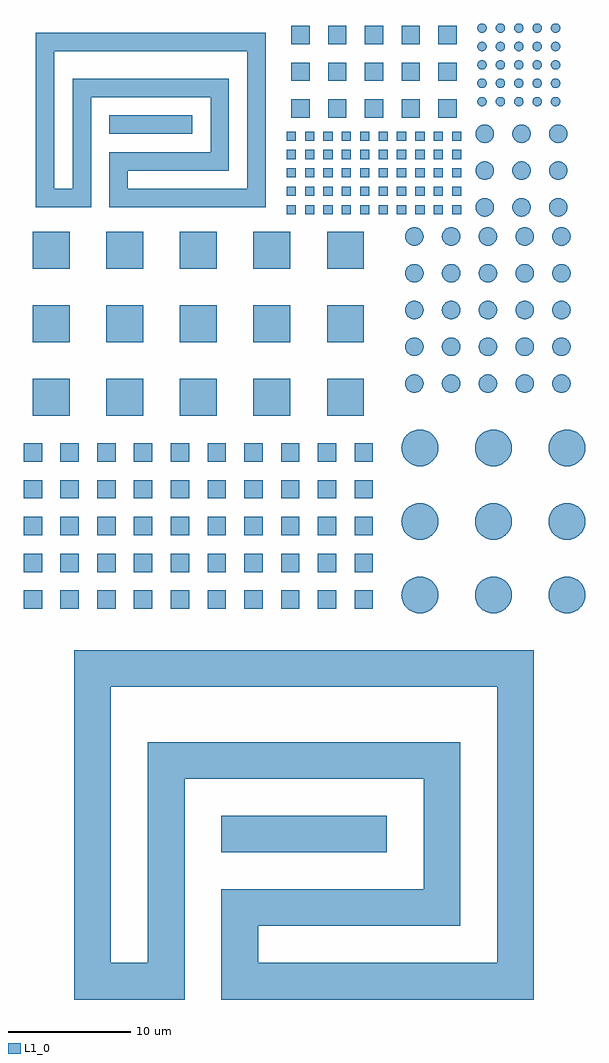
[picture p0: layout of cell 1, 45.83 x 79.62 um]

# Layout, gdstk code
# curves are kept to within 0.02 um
import gdstk
lib = gdstk.Library(unit=1e-6, precision=1e-09)
def R(c, l, rs):  # rectangles x0, y0, x1, y1
    for r in rs: c.add(gdstk.rectangle(r[:2], r[2:], *l))
def A(c, l, x, y, w, h, nx, ny, dx, dy):  # array of equal rectangles
    R(c, l, [(x+i*dx, y+j*dy, x+i*dx+w, y+j*dy+h) for i in range(nx) for j in range(ny)])
def P(c, l, *ps):  # polygons
    for p in ps: c.add(gdstk.Polygon(p, *l))
L1_0 = (1, 0)

c_1 = lib.new_cell('1')
A(c_1, L1_0, 360.751, -839.157, 1.5, 1.5, 10, 5, 3, 3)
A(c_1, L1_0, 361.501, -823.407, 3, 3, 5, 3, 6, 6)
A(c_1, L1_0, 382.207, -806.969, 0.75, 0.75, 10, 5, 1.5, 1.5)
A(c_1, L1_0, 382.582, -799.094, 1.5, 1.5, 5, 3, 3, 3)
P(c_1, L1_0, [(402.645,-798.157),(402.517,-798.134),(402.379,-798.047),(402.292,-797.909),(402.27,-797.782),(402.292,-797.653),(402.379,-797.516),(402.487,-797.441),(402.645,-797.407),(402.804,-797.441),(402.91,-797.516),(402.985,-797.623),(403.02,-797.782),(402.985,-797.939),(402.91,-798.047),(402.774,-798.134)],
  [(401.37,-801.157),(401.113,-801.112),(400.84,-800.936),(400.665,-800.663),(400.62,-800.407),(400.69,-800.089),(400.84,-799.876),(401.113,-799.702),(401.37,-799.657),(401.688,-799.727),(401.901,-799.876),(402.075,-800.15),(402.12,-800.407),(402.075,-800.663),(401.901,-800.936),(401.626,-801.112)],
  [(401.145,-796.657),(401.017,-796.634),(400.879,-796.547),(400.792,-796.409),(400.77,-796.282),(400.792,-796.153),(400.879,-796.016),(400.987,-795.941),(401.145,-795.907),(401.304,-795.941),(401.41,-796.016),(401.485,-796.123),(401.52,-796.282),(401.485,-796.439),(401.41,-796.547),(401.274,-796.634)],
  [(402.645,-793.657),(402.517,-793.634),(402.379,-793.547),(402.292,-793.409),(402.27,-793.282),(402.292,-793.153),(402.379,-793.016),(402.487,-792.941),(402.645,-792.907),(402.804,-792.941),(402.91,-793.016),(402.985,-793.123),(403.02,-793.282),(402.985,-793.439),(402.91,-793.547),(402.774,-793.634)],
  [(401.145,-793.657),(401.017,-793.634),(400.879,-793.547),(400.792,-793.409),(400.77,-793.282),(400.792,-793.153),(400.879,-793.016),(400.987,-792.941),(401.145,-792.907),(401.304,-792.941),(401.41,-793.016),(401.485,-793.123),(401.52,-793.282),(401.485,-793.439),(401.41,-793.547),(401.274,-793.634)],
  [(401.145,-792.157),(401.017,-792.134),(400.879,-792.047),(400.792,-791.909),(400.77,-791.782),(400.792,-791.653),(400.879,-791.516),(400.987,-791.441),(401.145,-791.407),(401.304,-791.441),(401.41,-791.516),(401.485,-791.623),(401.52,-791.782),(401.485,-791.939),(401.41,-792.047),(401.274,-792.134)],
  [(398.145,-796.657),(398.017,-796.634),(397.879,-796.547),(397.792,-796.409),(397.77,-796.282),(397.792,-796.153),(397.879,-796.016),(397.987,-795.941),(398.145,-795.907),(398.304,-795.941),(398.41,-796.016),(398.485,-796.123),(398.52,-796.282),(398.485,-796.439),(398.41,-796.547),(398.274,-796.634)],
  [(399.645,-795.157),(399.517,-795.134),(399.379,-795.047),(399.292,-794.909),(399.27,-794.782),(399.292,-794.653),(399.379,-794.516),(399.487,-794.441),(399.645,-794.407),(399.804,-794.441),(399.91,-794.516),(399.985,-794.623),(400.02,-794.782),(399.985,-794.939),(399.91,-795.047),(399.774,-795.134)],
  [(398.145,-793.657),(398.017,-793.634),(397.879,-793.547),(397.792,-793.409),(397.77,-793.282),(397.792,-793.153),(397.879,-793.016),(397.987,-792.941),(398.145,-792.907),(398.304,-792.941),(398.41,-793.016),(398.485,-793.123),(398.52,-793.282),(398.485,-793.439),(398.41,-793.547),(398.274,-793.634)],
  [(398.37,-804.157),(398.113,-804.112),(397.84,-803.936),(397.665,-803.663),(397.62,-803.407),(397.69,-803.089),(397.84,-802.876),(398.113,-802.702),(398.37,-802.657),(398.688,-802.727),(398.901,-802.876),(399.075,-803.15),(399.12,-803.407),(399.075,-803.663),(398.901,-803.936),(398.626,-804.112)],
  [(401.145,-798.157),(401.017,-798.134),(400.879,-798.047),(400.792,-797.909),(400.77,-797.782),(400.792,-797.653),(400.879,-797.516),(400.987,-797.441),(401.145,-797.407),(401.304,-797.441),(401.41,-797.516),(401.485,-797.623),(401.52,-797.782),(401.485,-797.939),(401.41,-798.047),(401.274,-798.134)],
  [(404.145,-793.657),(404.017,-793.634),(403.879,-793.547),(403.792,-793.409),(403.77,-793.282),(403.792,-793.153),(403.879,-793.016),(403.987,-792.941),(404.145,-792.907),(404.304,-792.941),(404.41,-793.016),(404.485,-793.123),(404.52,-793.282),(404.485,-793.439),(404.41,-793.547),(404.274,-793.634)],
  [(404.145,-792.157),(404.017,-792.134),(403.879,-792.047),(403.792,-791.909),(403.77,-791.782),(403.792,-791.653),(403.879,-791.516),(403.987,-791.441),(404.145,-791.407),(404.304,-791.441),(404.41,-791.516),(404.485,-791.623),(404.52,-791.782),(404.485,-791.939),(404.41,-792.047),(404.274,-792.134)],
  [(404.145,-798.157),(404.017,-798.134),(403.879,-798.047),(403.792,-797.909),(403.77,-797.782),(403.792,-797.653),(403.879,-797.516),(403.987,-797.441),(404.145,-797.407),(404.304,-797.441),(404.41,-797.516),(404.485,-797.623),(404.52,-797.782),(404.485,-797.939),(404.41,-798.047),(404.274,-798.134)],
  [(398.37,-801.157),(398.113,-801.112),(397.84,-800.936),(397.665,-800.663),(397.62,-800.407),(397.69,-800.089),(397.84,-799.876),(398.113,-799.702),(398.37,-799.657),(398.688,-799.727),(398.901,-799.876),(399.075,-800.15),(399.12,-800.407),(399.075,-800.663),(398.901,-800.936),(398.626,-801.112)],
  [(404.37,-804.157),(404.113,-804.112),(403.84,-803.936),(403.665,-803.663),(403.62,-803.407),(403.69,-803.089),(403.84,-802.876),(404.113,-802.702),(404.37,-802.657),(404.688,-802.727),(404.901,-802.876),(405.075,-803.15),(405.12,-803.407),(405.075,-803.663),(404.901,-803.936),(404.626,-804.112)],
  [(399.645,-798.157),(399.517,-798.134),(399.379,-798.047),(399.292,-797.909),(399.27,-797.782),(399.292,-797.653),(399.379,-797.516),(399.487,-797.441),(399.645,-797.407),(399.804,-797.441),(399.91,-797.516),(399.985,-797.623),(400.02,-797.782),(399.985,-797.939),(399.91,-798.047),(399.774,-798.134)],
  [(398.145,-792.157),(398.017,-792.134),(397.879,-792.047),(397.792,-791.909),(397.77,-791.782),(397.792,-791.653),(397.879,-791.516),(397.987,-791.441),(398.145,-791.407),(398.304,-791.441),(398.41,-791.516),(398.485,-791.623),(398.52,-791.782),(398.485,-791.939),(398.41,-792.047),(398.274,-792.134)],
  [(399.645,-793.657),(399.517,-793.634),(399.379,-793.547),(399.292,-793.409),(399.27,-793.282),(399.292,-793.153),(399.379,-793.016),(399.487,-792.941),(399.645,-792.907),(399.804,-792.941),(399.91,-793.016),(399.985,-793.123),(400.02,-793.282),(399.985,-793.439),(399.91,-793.547),(399.774,-793.634)],
  [(398.145,-798.157),(398.017,-798.134),(397.879,-798.047),(397.792,-797.909),(397.77,-797.782),(397.792,-797.653),(397.879,-797.516),(397.987,-797.441),(398.145,-797.407),(398.304,-797.441),(398.41,-797.516),(398.485,-797.623),(398.52,-797.782),(398.485,-797.939),(398.41,-798.047),(398.274,-798.134)],
  [(399.645,-796.657),(399.517,-796.634),(399.379,-796.547),(399.292,-796.409),(399.27,-796.282),(399.292,-796.153),(399.379,-796.016),(399.487,-795.941),(399.645,-795.907),(399.804,-795.941),(399.91,-796.016),(399.985,-796.123),(400.02,-796.282),(399.985,-796.439),(399.91,-796.547),(399.774,-796.634)],
  [(404.145,-795.157),(404.017,-795.134),(403.879,-795.047),(403.792,-794.909),(403.77,-794.782),(403.792,-794.653),(403.879,-794.516),(403.987,-794.441),(404.145,-794.407),(404.304,-794.441),(404.41,-794.516),(404.485,-794.623),(404.52,-794.782),(404.485,-794.939),(404.41,-795.047),(404.274,-795.134)],
  [(401.145,-795.157),(401.017,-795.134),(400.879,-795.047),(400.792,-794.909),(400.77,-794.782),(400.792,-794.653),(400.879,-794.516),(400.987,-794.441),(401.145,-794.407),(401.304,-794.441),(401.41,-794.516),(401.485,-794.623),(401.52,-794.782),(401.485,-794.939),(401.41,-795.047),(401.274,-795.134)],
  [(399.645,-792.157),(399.517,-792.134),(399.379,-792.047),(399.292,-791.909),(399.27,-791.782),(399.292,-791.653),(399.379,-791.516),(399.487,-791.441),(399.645,-791.407),(399.804,-791.441),(399.91,-791.516),(399.985,-791.623),(400.02,-791.782),(399.985,-791.939),(399.91,-792.047),(399.774,-792.134)],
  [(402.645,-792.157),(402.517,-792.134),(402.379,-792.047),(402.292,-791.909),(402.27,-791.782),(402.292,-791.653),(402.379,-791.516),(402.487,-791.441),(402.645,-791.407),(402.804,-791.441),(402.91,-791.516),(402.985,-791.623),(403.02,-791.782),(402.985,-791.939),(402.91,-792.047),(402.774,-792.134)],
  [(404.145,-796.657),(404.017,-796.634),(403.879,-796.547),(403.792,-796.409),(403.77,-796.282),(403.792,-796.153),(403.879,-796.016),(403.987,-795.941),(404.145,-795.907),(404.304,-795.941),(404.41,-796.016),(404.485,-796.123),(404.52,-796.282),(404.485,-796.439),(404.41,-796.547),(404.274,-796.634)],
  [(402.645,-795.157),(402.517,-795.134),(402.379,-795.047),(402.292,-794.909),(402.27,-794.782),(402.292,-794.653),(402.379,-794.516),(402.487,-794.441),(402.645,-794.407),(402.804,-794.441),(402.91,-794.516),(402.985,-794.623),(403.02,-794.782),(402.985,-794.939),(402.91,-795.047),(402.774,-795.134)],
  [(401.37,-804.157),(401.113,-804.112),(400.84,-803.936),(400.665,-803.663),(400.62,-803.407),(400.69,-803.089),(400.84,-802.876),(401.113,-802.702),(401.37,-802.657),(401.688,-802.727),(401.901,-802.876),(402.075,-803.15),(402.12,-803.407),(402.075,-803.663),(401.901,-803.936),(401.626,-804.112)],
  [(398.145,-795.157),(398.017,-795.134),(397.879,-795.047),(397.792,-794.909),(397.77,-794.782),(397.792,-794.653),(397.879,-794.516),(397.987,-794.441),(398.145,-794.407),(398.304,-794.441),(398.41,-794.516),(398.485,-794.623),(398.52,-794.782),(398.485,-794.939),(398.41,-795.047),(398.274,-795.134)],
  [(402.645,-796.657),(402.517,-796.634),(402.379,-796.547),(402.292,-796.409),(402.27,-796.282),(402.292,-796.153),(402.379,-796.016),(402.487,-795.941),(402.645,-795.907),(402.804,-795.941),(402.91,-796.016),(402.985,-796.123),(403.02,-796.282),(402.985,-796.439),(402.91,-796.547),(402.774,-796.634)],
  [(404.37,-801.157),(404.113,-801.112),(403.84,-800.936),(403.665,-800.663),(403.62,-800.407),(403.69,-800.089),(403.84,-799.876),(404.113,-799.702),(404.37,-799.657),(404.688,-799.727),(404.901,-799.876),(405.075,-800.15),(405.12,-800.407),(405.075,-800.663),(404.901,-800.936),(404.626,-801.112)],
  [(404.37,-807.157),(404.113,-807.112),(403.84,-806.936),(403.665,-806.663),(403.62,-806.407),(403.69,-806.089),(403.84,-805.876),(404.113,-805.702),(404.37,-805.657),(404.688,-805.727),(404.901,-805.876),(405.075,-806.15),(405.12,-806.407),(405.075,-806.663),(404.901,-806.936),(404.626,-807.112)],
  [(401.37,-807.157),(401.113,-807.112),(400.84,-806.936),(400.665,-806.663),(400.62,-806.407),(400.69,-806.089),(400.84,-805.876),(401.113,-805.702),(401.37,-805.657),(401.688,-805.727),(401.901,-805.876),(402.075,-806.15),(402.12,-806.407),(402.075,-806.663),(401.901,-806.936),(401.626,-807.112)],
  [(398.37,-807.157),(398.113,-807.112),(397.84,-806.936),(397.665,-806.663),(397.62,-806.407),(397.69,-806.089),(397.84,-805.876),(398.113,-805.702),(398.37,-805.657),(398.688,-805.727),(398.901,-805.876),(399.075,-806.15),(399.12,-806.407),(399.075,-806.663),(398.901,-806.936),(398.626,-807.112)],
  [(401.626,-821.532),(401.371,-821.487),(401.095,-821.313),(400.921,-821.037),(400.876,-820.782),(400.921,-820.524),(401.095,-820.251),(401.311,-820.101),(401.626,-820.032),(401.944,-820.101),(402.157,-820.251),(402.307,-820.464),(402.376,-820.782),(402.307,-821.097),(402.157,-821.313),(401.884,-821.487)],
  [(399.076,-827.532),(398.815,-827.508),(398.563,-827.442),(398.326,-827.331),(398.017,-827.091),(397.777,-826.782),(397.666,-826.545),(397.6,-826.293),(397.576,-826.032),(397.627,-825.642),(397.717,-825.396),(397.849,-825.171),(398.017,-824.97),(398.215,-824.802),(398.563,-824.622),(398.815,-824.553),(399.076,-824.532),(399.337,-824.553),(399.589,-824.622),(399.937,-824.802),(400.138,-824.97),(400.306,-825.171),(400.486,-825.519),(400.555,-825.771),(400.576,-826.032),(400.555,-826.293),(400.486,-826.545),(400.306,-826.893),(400.138,-827.091),(399.937,-827.259),(399.712,-827.391),(399.466,-827.481)],
  [(398.626,-818.532),(398.371,-818.487),(398.095,-818.313),(397.921,-818.037),(397.876,-817.782),(397.921,-817.524),(398.095,-817.251),(398.311,-817.101),(398.626,-817.032),(398.944,-817.101),(399.157,-817.251),(399.307,-817.464),(399.376,-817.782),(399.307,-818.097),(399.157,-818.313),(398.884,-818.487)],
  [(401.626,-812.532),(401.371,-812.487),(401.095,-812.313),(400.921,-812.037),(400.876,-811.782),(400.921,-811.524),(401.095,-811.251),(401.311,-811.101),(401.626,-811.032),(401.944,-811.101),(402.157,-811.251),(402.307,-811.464),(402.376,-811.782),(402.307,-812.097),(402.157,-812.313),(401.884,-812.487)],
  [(398.626,-812.532),(398.371,-812.487),(398.095,-812.313),(397.921,-812.037),(397.876,-811.782),(397.921,-811.524),(398.095,-811.251),(398.311,-811.101),(398.626,-811.032),(398.944,-811.101),(399.157,-811.251),(399.307,-811.464),(399.376,-811.782),(399.307,-812.097),(399.157,-812.313),(398.884,-812.487)],
  [(398.626,-809.532),(398.371,-809.487),(398.095,-809.313),(397.921,-809.037),(397.876,-808.782),(397.921,-808.524),(398.095,-808.251),(398.311,-808.101),(398.626,-808.032),(398.944,-808.101),(399.157,-808.251),(399.307,-808.464),(399.376,-808.782),(399.307,-809.097),(399.157,-809.313),(398.884,-809.487)],
  [(392.626,-818.532),(392.371,-818.487),(392.095,-818.313),(391.921,-818.037),(391.876,-817.782),(391.921,-817.524),(392.095,-817.251),(392.311,-817.101),(392.626,-817.032),(392.944,-817.101),(393.157,-817.251),(393.307,-817.464),(393.376,-817.782),(393.307,-818.097),(393.157,-818.313),(392.884,-818.487)],
  [(395.626,-815.532),(395.371,-815.487),(395.095,-815.313),(394.921,-815.037),(394.876,-814.782),(394.921,-814.524),(395.095,-814.251),(395.311,-814.101),(395.626,-814.032),(395.944,-814.101),(396.157,-814.251),(396.307,-814.464),(396.376,-814.782),(396.307,-815.097),(396.157,-815.313),(395.884,-815.487)],
  [(392.626,-812.532),(392.371,-812.487),(392.095,-812.313),(391.921,-812.037),(391.876,-811.782),(391.921,-811.524),(392.095,-811.251),(392.311,-811.101),(392.626,-811.032),(392.944,-811.101),(393.157,-811.251),(393.307,-811.464),(393.376,-811.782),(393.307,-812.097),(393.157,-812.313),(392.884,-812.487)],
  [(393.076,-833.532),(392.815,-833.508),(392.563,-833.442),(392.326,-833.331),(392.017,-833.091),(391.777,-832.782),(391.666,-832.545),(391.6,-832.293),(391.576,-832.032),(391.627,-831.642),(391.717,-831.396),(391.849,-831.171),(392.017,-830.97),(392.215,-830.802),(392.563,-830.622),(392.815,-830.553),(393.076,-830.532),(393.337,-830.553),(393.589,-830.622),(393.937,-830.802),(394.138,-830.97),(394.306,-831.171),(394.486,-831.519),(394.555,-831.771),(394.576,-832.032),(394.555,-832.293),(394.486,-832.545),(394.306,-832.893),(394.138,-833.091),(393.937,-833.259),(393.712,-833.391),(393.466,-833.481)],
  [(398.626,-821.532),(398.371,-821.487),(398.095,-821.313),(397.921,-821.037),(397.876,-820.782),(397.921,-820.524),(398.095,-820.251),(398.311,-820.101),(398.626,-820.032),(398.944,-820.101),(399.157,-820.251),(399.307,-820.464),(399.376,-820.782),(399.307,-821.097),(399.157,-821.313),(398.884,-821.487)],
  [(404.626,-812.532),(404.371,-812.487),(404.095,-812.313),(403.921,-812.037),(403.876,-811.782),(403.921,-811.524),(404.095,-811.251),(404.311,-811.101),(404.626,-811.032),(404.944,-811.101),(405.157,-811.251),(405.307,-811.464),(405.376,-811.782),(405.307,-812.097),(405.157,-812.313),(404.884,-812.487)],
  [(404.626,-809.532),(404.371,-809.487),(404.095,-809.313),(403.921,-809.037),(403.876,-808.782),(403.921,-808.524),(404.095,-808.251),(404.311,-808.101),(404.626,-808.032),(404.944,-808.101),(405.157,-808.251),(405.307,-808.464),(405.376,-808.782),(405.307,-809.097),(405.157,-809.313),(404.884,-809.487)],
  [(404.626,-821.532),(404.371,-821.487),(404.095,-821.313),(403.921,-821.037),(403.876,-820.782),(403.921,-820.524),(404.095,-820.251),(404.311,-820.101),(404.626,-820.032),(404.944,-820.101),(405.157,-820.251),(405.307,-820.464),(405.376,-820.782),(405.307,-821.097),(405.157,-821.313),(404.884,-821.487)],
  [(393.076,-827.532),(392.815,-827.508),(392.563,-827.442),(392.326,-827.331),(392.017,-827.091),(391.777,-826.782),(391.666,-826.545),(391.6,-826.293),(391.576,-826.032),(391.627,-825.642),(391.717,-825.396),(391.849,-825.171),(392.017,-824.97),(392.215,-824.802),(392.563,-824.622),(392.815,-824.553),(393.076,-824.532),(393.337,-824.553),(393.589,-824.622),(393.937,-824.802),(394.138,-824.97),(394.306,-825.171),(394.486,-825.519),(394.555,-825.771),(394.576,-826.032),(394.555,-826.293),(394.486,-826.545),(394.306,-826.893),(394.138,-827.091),(393.937,-827.259),(393.712,-827.391),(393.466,-827.481)],
  [(405.076,-833.532),(404.815,-833.508),(404.563,-833.442),(404.326,-833.331),(404.017,-833.091),(403.777,-832.782),(403.666,-832.545),(403.6,-832.293),(403.576,-832.032),(403.627,-831.642),(403.717,-831.396),(403.849,-831.171),(404.017,-830.97),(404.215,-830.802),(404.563,-830.622),(404.815,-830.553),(405.076,-830.532),(405.337,-830.553),(405.589,-830.622),(405.937,-830.802),(406.138,-830.97),(406.306,-831.171),(406.486,-831.519),(406.555,-831.771),(406.576,-832.032),(406.555,-832.293),(406.486,-832.545),(406.306,-832.893),(406.138,-833.091),(405.937,-833.259),(405.712,-833.391),(405.466,-833.481)],
  [(395.626,-821.532),(395.371,-821.487),(395.095,-821.313),(394.921,-821.037),(394.876,-820.782),(394.921,-820.524),(395.095,-820.251),(395.311,-820.101),(395.626,-820.032),(395.944,-820.101),(396.157,-820.251),(396.307,-820.464),(396.376,-820.782),(396.307,-821.097),(396.157,-821.313),(395.884,-821.487)],
  [(392.626,-809.532),(392.371,-809.487),(392.095,-809.313),(391.921,-809.037),(391.876,-808.782),(391.921,-808.524),(392.095,-808.251),(392.311,-808.101),(392.626,-808.032),(392.944,-808.101),(393.157,-808.251),(393.307,-808.464),(393.376,-808.782),(393.307,-809.097),(393.157,-809.313),(392.884,-809.487)],
  [(395.626,-812.532),(395.371,-812.487),(395.095,-812.313),(394.921,-812.037),(394.876,-811.782),(394.921,-811.524),(395.095,-811.251),(395.311,-811.101),(395.626,-811.032),(395.944,-811.101),(396.157,-811.251),(396.307,-811.464),(396.376,-811.782),(396.307,-812.097),(396.157,-812.313),(395.884,-812.487)],
  [(392.626,-821.532),(392.371,-821.487),(392.095,-821.313),(391.921,-821.037),(391.876,-820.782),(391.921,-820.524),(392.095,-820.251),(392.311,-820.101),(392.626,-820.032),(392.944,-820.101),(393.157,-820.251),(393.307,-820.464),(393.376,-820.782),(393.307,-821.097),(393.157,-821.313),(392.884,-821.487)],
  [(395.626,-818.532),(395.371,-818.487),(395.095,-818.313),(394.921,-818.037),(394.876,-817.782),(394.921,-817.524),(395.095,-817.251),(395.311,-817.101),(395.626,-817.032),(395.944,-817.101),(396.157,-817.251),(396.307,-817.464),(396.376,-817.782),(396.307,-818.097),(396.157,-818.313),(395.884,-818.487)],
  [(404.626,-815.532),(404.371,-815.487),(404.095,-815.313),(403.921,-815.037),(403.876,-814.782),(403.921,-814.524),(404.095,-814.251),(404.311,-814.101),(404.626,-814.032),(404.944,-814.101),(405.157,-814.251),(405.307,-814.464),(405.376,-814.782),(405.307,-815.097),(405.157,-815.313),(404.884,-815.487)],
  [(398.626,-815.532),(398.371,-815.487),(398.095,-815.313),(397.921,-815.037),(397.876,-814.782),(397.921,-814.524),(398.095,-814.251),(398.311,-814.101),(398.626,-814.032),(398.944,-814.101),(399.157,-814.251),(399.307,-814.464),(399.376,-814.782),(399.307,-815.097),(399.157,-815.313),(398.884,-815.487)],
  [(395.626,-809.532),(395.371,-809.487),(395.095,-809.313),(394.921,-809.037),(394.876,-808.782),(394.921,-808.524),(395.095,-808.251),(395.311,-808.101),(395.626,-808.032),(395.944,-808.101),(396.157,-808.251),(396.307,-808.464),(396.376,-808.782),(396.307,-809.097),(396.157,-809.313),(395.884,-809.487)],
  [(401.626,-809.532),(401.371,-809.487),(401.095,-809.313),(400.921,-809.037),(400.876,-808.782),(400.921,-808.524),(401.095,-808.251),(401.311,-808.101),(401.626,-808.032),(401.944,-808.101),(402.157,-808.251),(402.307,-808.464),(402.376,-808.782),(402.307,-809.097),(402.157,-809.313),(401.884,-809.487)],
  [(404.626,-818.532),(404.371,-818.487),(404.095,-818.313),(403.921,-818.037),(403.876,-817.782),(403.921,-817.524),(404.095,-817.251),(404.311,-817.101),(404.626,-817.032),(404.944,-817.101),(405.157,-817.251),(405.307,-817.464),(405.376,-817.782),(405.307,-818.097),(405.157,-818.313),(404.884,-818.487)],
  [(401.626,-815.532),(401.371,-815.487),(401.095,-815.313),(400.921,-815.037),(400.876,-814.782),(400.921,-814.524),(401.095,-814.251),(401.311,-814.101),(401.626,-814.032),(401.944,-814.101),(402.157,-814.251),(402.307,-814.464),(402.376,-814.782),(402.307,-815.097),(402.157,-815.313),(401.884,-815.487)],
  [(399.076,-833.532),(398.815,-833.508),(398.563,-833.442),(398.326,-833.331),(398.017,-833.091),(397.777,-832.782),(397.666,-832.545),(397.6,-832.293),(397.576,-832.032),(397.627,-831.642),(397.717,-831.396),(397.849,-831.171),(398.017,-830.97),(398.215,-830.802),(398.563,-830.622),(398.815,-830.553),(399.076,-830.532),(399.337,-830.553),(399.589,-830.622),(399.937,-830.802),(400.138,-830.97),(400.306,-831.171),(400.486,-831.519),(400.555,-831.771),(400.576,-832.032),(400.555,-832.293),(400.486,-832.545),(400.306,-832.893),(400.138,-833.091),(399.937,-833.259),(399.712,-833.391),(399.466,-833.481)],
  [(392.626,-815.532),(392.371,-815.487),(392.095,-815.313),(391.921,-815.037),(391.876,-814.782),(391.921,-814.524),(392.095,-814.251),(392.311,-814.101),(392.626,-814.032),(392.944,-814.101),(393.157,-814.251),(393.307,-814.464),(393.376,-814.782),(393.307,-815.097),(393.157,-815.313),(392.884,-815.487)],
  [(401.626,-818.532),(401.371,-818.487),(401.095,-818.313),(400.921,-818.037),(400.876,-817.782),(400.921,-817.524),(401.095,-817.251),(401.311,-817.101),(401.626,-817.032),(401.944,-817.101),(402.157,-817.251),(402.307,-817.464),(402.376,-817.782),(402.307,-818.097),(402.157,-818.313),(401.884,-818.487)],
  [(405.076,-827.532),(404.815,-827.508),(404.563,-827.442),(404.326,-827.331),(404.017,-827.091),(403.777,-826.782),(403.666,-826.545),(403.6,-826.293),(403.576,-826.032),(403.627,-825.642),(403.717,-825.396),(403.849,-825.171),(404.017,-824.97),(404.215,-824.802),(404.563,-824.622),(404.815,-824.553),(405.076,-824.532),(405.337,-824.553),(405.589,-824.622),(405.937,-824.802),(406.138,-824.97),(406.306,-825.171),(406.486,-825.519),(406.555,-825.771),(406.576,-826.032),(406.555,-826.293),(406.486,-826.545),(406.306,-826.893),(406.138,-827.091),(405.937,-827.259),(405.712,-827.391),(405.466,-827.481)],
  [(405.076,-839.532),(404.815,-839.508),(404.563,-839.442),(404.326,-839.331),(404.017,-839.091),(403.777,-838.782),(403.666,-838.545),(403.6,-838.293),(403.576,-838.032),(403.627,-837.642),(403.717,-837.396),(403.849,-837.171),(404.017,-836.97),(404.215,-836.802),(404.563,-836.622),(404.815,-836.553),(405.076,-836.532),(405.337,-836.553),(405.589,-836.622),(405.937,-836.802),(406.138,-836.97),(406.306,-837.171),(406.486,-837.519),(406.555,-837.771),(406.576,-838.032),(406.555,-838.293),(406.486,-838.545),(406.306,-838.893),(406.138,-839.091),(405.937,-839.259),(405.712,-839.391),(405.466,-839.481)],
  [(399.076,-839.532),(398.815,-839.508),(398.563,-839.442),(398.326,-839.331),(398.017,-839.091),(397.777,-838.782),(397.666,-838.545),(397.6,-838.293),(397.576,-838.032),(397.627,-837.642),(397.717,-837.396),(397.849,-837.171),(398.017,-836.97),(398.215,-836.802),(398.563,-836.622),(398.815,-836.553),(399.076,-836.532),(399.337,-836.553),(399.589,-836.622),(399.937,-836.802),(400.138,-836.97),(400.306,-837.171),(400.486,-837.519),(400.555,-837.771),(400.576,-838.032),(400.555,-838.293),(400.486,-838.545),(400.306,-838.893),(400.138,-839.091),(399.937,-839.259),(399.712,-839.391),(399.466,-839.481)],
  [(393.076,-839.532),(392.815,-839.508),(392.563,-839.442),(392.326,-839.331),(392.017,-839.091),(391.777,-838.782),(391.666,-838.545),(391.6,-838.293),(391.576,-838.032),(391.627,-837.642),(391.717,-837.396),(391.849,-837.171),(392.017,-836.97),(392.215,-836.802),(392.563,-836.622),(392.815,-836.553),(393.076,-836.532),(393.337,-836.553),(393.589,-836.622),(393.937,-836.802),(394.138,-836.97),(394.306,-837.171),(394.486,-837.519),(394.555,-837.771),(394.576,-838.032),(394.555,-838.293),(394.486,-838.545),(394.306,-838.893),(394.138,-839.091),(393.937,-839.259),(393.712,-839.391),(393.466,-839.481)])
c_1.add(gdstk.FlexPath([(374.501,-799.657),(367.751,-799.657)], 1.5, ends="flush", simple_path=True, layer=1, datatype=0))  # L1_0
c_1.add(gdstk.FlexPath([(361.751,-792.907),(379.751,-792.907),(379.751,-805.657),(368.501,-805.657),(368.501,-802.657),(376.751,-802.657),(376.751,-796.657),(365.501,-796.657),(365.501,-805.657),(362.501,-805.657),(362.501,-792.157)], 1.5, ends="flush", simple_path=True, layer=1, datatype=0))  # L1_0
c_1.add(gdstk.FlexPath([(390.376,-857.532),(376.876,-857.532)], 3, ends="flush", simple_path=True, layer=1, datatype=0))  # L1_0
c_1.add(gdstk.FlexPath([(364.876,-844.032),(400.876,-844.032),(400.876,-869.532),(378.376,-869.532),(378.376,-863.532),(394.876,-863.532),(394.876,-851.532),(372.376,-851.532),(372.376,-869.532),(366.376,-869.532),(366.376,-842.532)], 3, ends="flush", simple_path=True, layer=1, datatype=0))  # L1_0

lib.write_gds('1.gds')
